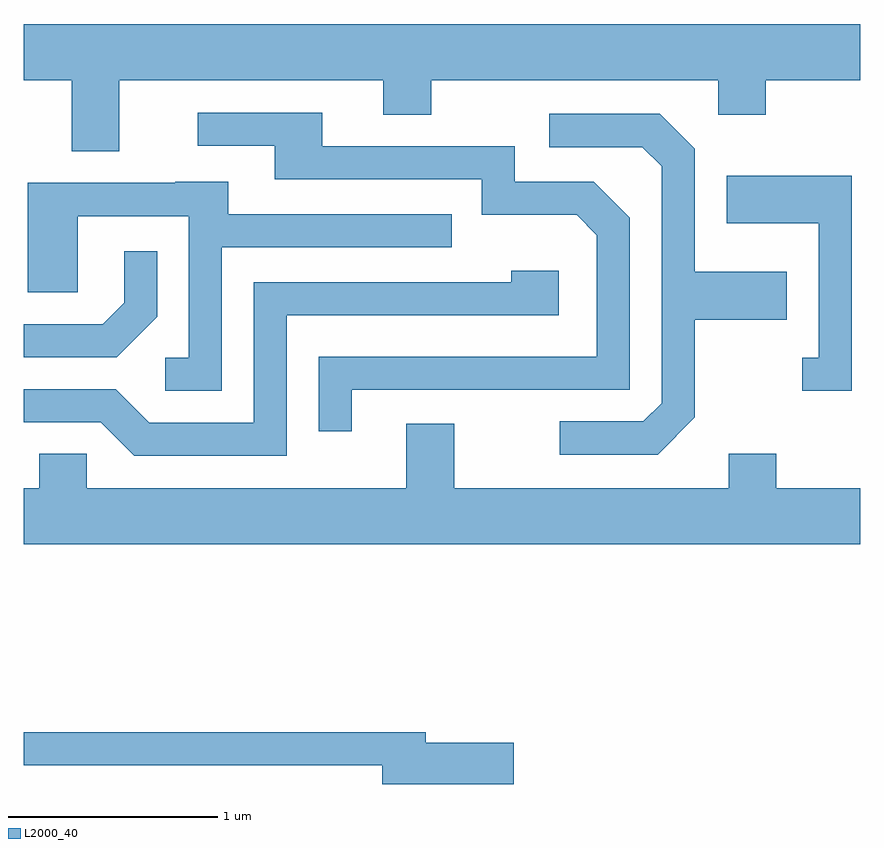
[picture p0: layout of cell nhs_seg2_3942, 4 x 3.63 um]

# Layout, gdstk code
import gdstk
lib = gdstk.Library(unit=1e-6, precision=1e-09)
def P(c, l, *ps):  # polygons
    for p in ps: c.add(gdstk.Polygon(p, *l))
L2000_40 = (2000, 40)

nhs_seg2_3942 = lib.new_cell('nhs_seg2_3942')
P(nhs_seg2_3942, L2000_40, [(302.069,997.256),(303.331,997.256),(303.331,997.091),(303.559,997.091),(303.559,997.256),(304.931,997.256),(304.931,997.091),(305.159,997.091),(305.159,997.256),(305.611,997.256),(305.611,997.524),(301.611,997.524),(301.611,997.256),(301.841,997.256),(301.841,996.916),(302.069,996.916)],
  [(303.179,995.776),(304.509,995.776),(304.509,996.597),(304.337,996.769),(303.959,996.769),(303.959,996.939),(303.039,996.939),(303.039,997.099),(302.443,997.099),(302.443,996.941),(302.811,996.941),(302.811,996.781),(303.801,996.781),(303.801,996.611),(304.254,996.611),(304.351,996.514),(304.351,995.934),(303.021,995.934),(303.021,995.578),(303.179,995.578)],
  [(304.819,995.644),(304.819,996.111),(305.259,996.111),(305.259,996.339),(304.819,996.339),(304.819,996.927),(304.652,997.094),(304.123,997.094),(304.123,996.936),(304.569,996.936),(304.661,996.844),(304.661,995.712),(304.574,995.624),(304.173,995.624),(304.173,995.466),(304.642,995.466)],
  [(305.569,996.799),(304.971,996.799),(304.971,996.571),(305.411,996.571),(305.411,995.929),(305.333,995.929),(305.333,995.771),(305.569,995.771)],
  [(302.559,996.456),(303.658,996.456),(303.658,996.614),(302.589,996.614),(302.589,996.769),(302.335,996.769),(302.335,996.764),(301.631,996.764),(301.631,996.241),(301.869,996.241),(301.869,996.606),(302.401,996.606),(302.401,995.929),(302.288,995.929),(302.288,995.771),(302.559,995.771)],
  [(302.249,996.124),(302.249,996.438),(302.091,996.438),(302.091,996.192),(301.989,996.089),(301.611,996.089),(301.611,995.931),(302.057,995.931)],
  [(302.869,996.131),(304.169,996.131),(304.169,996.344),(303.941,996.344),(303.941,996.289),(302.711,996.289),(302.711,995.619),(302.212,995.619),(302.052,995.779),(301.611,995.779),(301.611,995.621),(301.979,995.621),(302.139,995.461),(302.869,995.461)],
  [(305.611,995.304),(305.209,995.304),(305.209,995.469),(304.981,995.469),(304.981,995.304),(303.669,995.304),(303.669,995.614),(303.441,995.614),(303.441,995.304),(301.914,995.304),(301.914,995.469),(301.686,995.469),(301.686,995.304),(301.611,995.304),(301.611,995.036),(305.611,995.036)],
  [(303.954,994.089),(303.534,994.089),(303.534,994.139),(301.611,994.139),(301.611,993.981),(303.326,993.981),(303.326,993.891),(303.954,993.891)])

lib.write_gds('nhs_seg2_3942.gds')
